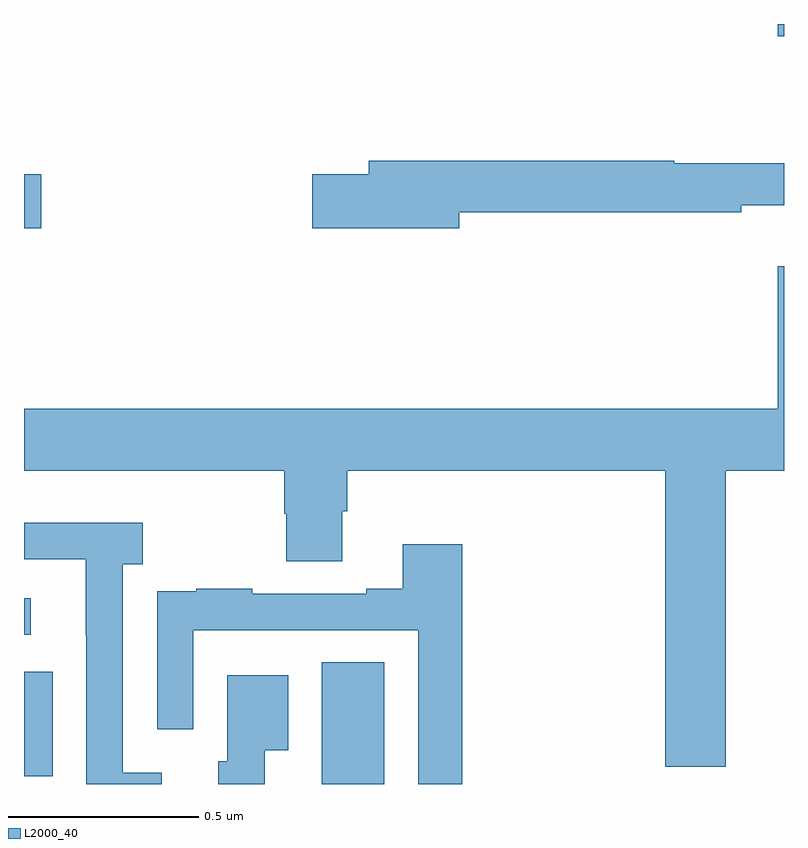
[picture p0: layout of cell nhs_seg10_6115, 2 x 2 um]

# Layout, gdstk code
import gdstk
lib = gdstk.Library(unit=1e-6, precision=1e-09)
def R(c, l, rs):  # rectangles x0, y0, x1, y1
    for r in rs: c.add(gdstk.rectangle(r[:2], r[2:], *l))
def P(c, l, *ps):  # polygons
    for p in ps: c.add(gdstk.Polygon(p, *l))
L2000_40 = (2000, 40)

nhs_seg10_6115 = lib.new_cell('nhs_seg10_6115')
R(nhs_seg10_6115, L2000_40, [(187.784,1291.5,187.948,1291.82), (187,1291.521,187.075,1291.795), (187,1291.893,187.018,1291.989), (187,1292.962,187.045,1293.104), (188.984,1293.468,189,1293.5)])
P(nhs_seg10_6115, L2000_40, [(188.146,1293.004),(188.888,1293.004),(188.888,1293.023),(189,1293.023),(189,1293.133),(188.711,1293.133),(188.711,1293.14),(187.907,1293.14),(187.907,1293.104),(187.758,1293.104),(187.758,1292.962),(188.146,1292.962)],
  [(188.847,1292.324),(189,1292.324),(189,1292.863),(188.984,1292.863),(188.984,1292.488),(187,1292.488),(187,1292.324),(187.685,1292.324),(187.685,1292.211),(187.69,1292.211),(187.69,1292.086),(187.837,1292.086),(187.837,1292.218),(187.85,1292.218),(187.85,1292.324),(188.687,1292.324),(188.687,1291.545),(188.847,1291.545)],
  [(187.363,1291.53),(187.26,1291.53),(187.26,1292.078),(187.312,1292.078),(187.312,1292.188),(187,1292.188),(187,1292.091),(187.163,1292.091),(187.163,1291.891),(187.164,1291.891),(187.164,1291.5),(187.363,1291.5)],
  [(188.153,1292.131),(187.997,1292.131),(187.997,1292.014),(187.901,1292.014),(187.901,1292.001),(187.601,1292.001),(187.601,1292.014),(187.453,1292.014),(187.453,1292.007),(187.351,1292.007),(187.351,1291.898),(187.35,1291.898),(187.35,1291.644),(187.446,1291.644),(187.446,1291.905),(188.037,1291.905),(188.037,1291.5),(188.153,1291.5)],
  [(187.633,1291.589),(187.696,1291.589),(187.696,1291.786),(187.535,1291.786),(187.535,1291.56),(187.511,1291.56),(187.511,1291.5),(187.633,1291.5)])

lib.write_gds('nhs_seg10_6115.gds')
